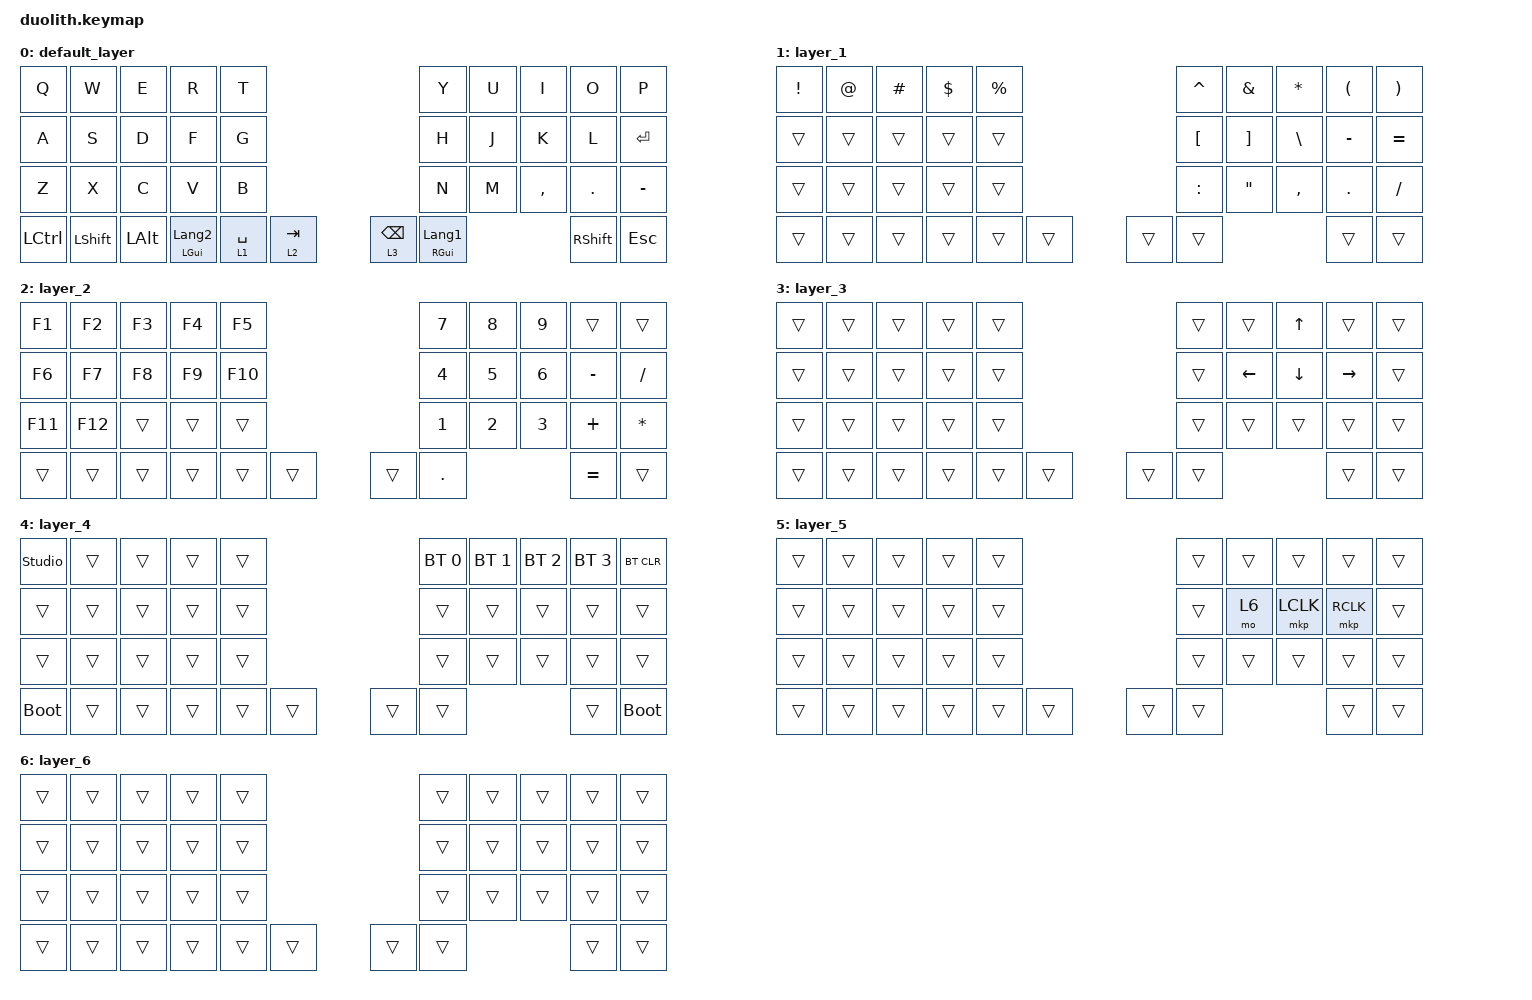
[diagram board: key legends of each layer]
// This file was generated from a template. Edit it to match your keyboard.
// See https://zmk.dev/docs/development/hardware-integration/new-shield for more instructions.

#include <behaviors.dtsi>
#include <dt-bindings/zmk/bt.h>
#include <dt-bindings/zmk/keys.h>
#include <dt-bindings/zmk/pointing.h>

/ {
    // Define a default keymap here.
    // See https://zmk.dev/docs/development/hardware-integration/new-shield#default-keymap.

    combos { compatible = "zmk,combos"; };

    keymap {
        compatible = "zmk,keymap";

        default_layer {
            bindings = <
&kp Q      &kp W           &kp E         &kp R                    &kp T                   &kp Y            &kp U                     &kp I      &kp O            &kp P
&kp A      &kp S           &kp D         &kp F                    &kp G                   &kp H            &kp J                     &kp K      &kp L            &kp ENTER
&kp Z      &kp X           &kp C         &kp V                    &kp B                   &kp N            &kp M                     &kp COMMA  &kp DOT          &kp MINUS
&kp LCTRL  &kp LEFT_SHIFT  &kp LEFT_ALT  &mt LEFT_GUI LANGUAGE_2  &lt 1 SPACE  &lt 2 TAB  &lt 3 BACKSPACE  &mt RIGHT_GUI LANGUAGE_1             &kp RIGHT_SHIFT  &kp ESC
            >;
        };

        layer_1 {
            bindings = <
&kp EXCLAMATION  &kp AT_SIGN  &kp HASH  &kp DOLLAR  &kp PERCENT          &kp CARET  &kp AMPERSAND      &kp ASTERISK   &kp LEFT_PARENTHESIS  &kp RIGHT_PARENTHESIS
&trans           &trans       &trans    &trans      &trans               &kp LBKT   &kp RBKT           &kp BACKSLASH  &kp MINUS             &kp EQUAL
&trans           &trans       &trans    &trans      &trans               &kp COLON  &kp DOUBLE_QUOTES  &kp COMMA      &kp DOT               &kp SLASH
&trans           &trans       &trans    &trans      &trans       &trans  &trans     &trans                            &trans                &trans
            >;
        };

        layer_2 {
            bindings = <
&kp F1   &kp F2   &kp F3  &kp F4  &kp F5           &kp N7  &kp N8   &kp N9  &trans     &trans
&kp F6   &kp F7   &kp F8  &kp F9  &kp F10          &kp N4  &kp N5   &kp N6  &kp MINUS  &kp SLASH
&kp F11  &kp F12  &trans  &trans  &trans           &kp N1  &kp N2   &kp N3  &kp PLUS   &kp ASTERISK
&trans   &trans   &trans  &trans  &trans   &trans  &trans  &kp DOT          &kp EQUAL  &trans
            >;
        };

        layer_3 {
            bindings = <
&trans  &trans  &trans  &trans  &trans          &trans  &trans    &kp UP    &trans     &trans
&trans  &trans  &trans  &trans  &trans          &trans  &kp LEFT  &kp DOWN  &kp RIGHT  &trans
&trans  &trans  &trans  &trans  &trans          &trans  &trans    &trans    &trans     &trans
&trans  &trans  &trans  &trans  &trans  &trans  &trans  &trans              &trans     &trans
            >;
        };

        layer_4 {
            bindings = <
&studio_unlock  &trans  &trans  &trans  &trans          &bt BT_SEL 0  &bt BT_SEL 1  &bt BT_SEL 2  &bt BT_SEL 3  &bt BT_CLR
&trans          &trans  &trans  &trans  &trans          &trans        &trans        &trans        &trans        &trans
&trans          &trans  &trans  &trans  &trans          &trans        &trans        &trans        &trans        &trans
&bootloader     &trans  &trans  &trans  &trans  &trans  &trans        &trans                      &trans        &bootloader
            >;
        };

        layer_5 {
            bindings = <
&trans  &trans  &trans  &trans  &trans          &trans  &trans  &trans     &trans     &trans
&trans  &trans  &trans  &trans  &trans          &trans  &mo 6   &mkp LCLK  &mkp RCLK  &trans
&trans  &trans  &trans  &trans  &trans          &trans  &trans  &trans     &trans     &trans
&trans  &trans  &trans  &trans  &trans  &trans  &trans  &trans             &trans     &trans
            >;
        };

        layer_6 {
            bindings = <
&trans  &trans  &trans  &trans  &trans          &trans  &trans  &trans  &trans  &trans
&trans  &trans  &trans  &trans  &trans          &trans  &trans  &trans  &trans  &trans
&trans  &trans  &trans  &trans  &trans          &trans  &trans  &trans  &trans  &trans
&trans  &trans  &trans  &trans  &trans  &trans  &trans  &trans          &trans  &trans
            >;
        };
    };

    conditional_layers {
        compatible = "zmk,conditional-layers";

        layer4 {
            if-layers = <1 2>;
            then-layer = <4>;
        };
    };
};
